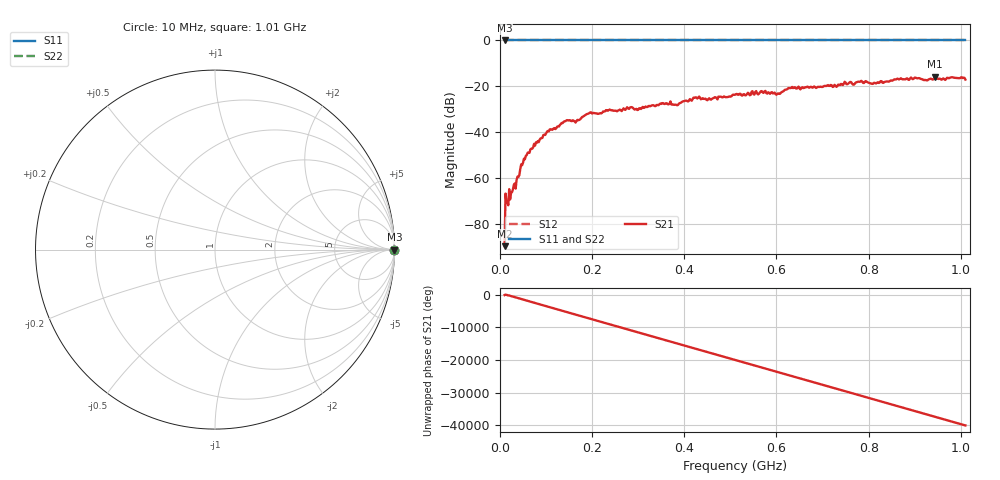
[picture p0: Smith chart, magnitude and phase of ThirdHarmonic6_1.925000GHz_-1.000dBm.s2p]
! 8/16/2025 11:12:36 PM
! C:\ANRITSUVNA\TEMP\TEMP.S2P
! CHANNEL.1
! TR.MEASUREMENT
! RAW.DATA
! RF.CORRECTION.OFF
! AVERAGING.OFF
! IF.BANDWIDTH: 5KHZ
! SWEEPTYPE:  FREQ.SWEEP(Linear)
! Reference Plane Port Info
! PORT:  PORT1  PORT2
! DISTANCE:  0  m  0  m
! TIME:  0  s  0  s
! PHASE.OFFSET:  0  deg.  0  deg.
! LOSS:  0  dB  0  dB
! REF.LOSS:  0  dB  0  dB
! REF.FREQ:  0  Hz  0  Hz
! Power Info
! POWER:  -20  dBm  -20  dBm
! EFF.POWER:  -20  dBm  -20  dBm
! SOURCE.ATTEN:  0  dB  0  dB
! TEST.ATTEN:  0  dB  0  dB
# GHZ S RI R 50.0
! FREQ.GHZ  S11RE  S11IM  S21RE  S21IM  S12RE  S12IM  S22RE  S22IM
!; PortSelection: Port_12
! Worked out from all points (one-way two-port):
!   501 points, 10 MHz to 1.01 GHz, reference 50 ohm
!   highest |S21| = -15.77 dB at 944 MHz (marker M1); lowest = -89.8 dB at 10 MHz (marker M2)
!   lowest |S11| = 0.0 dB at 10 MHz (marker M3)
!   |S11| at or under -10 dB: nowhere
!   |S22| runs from 0.0 to 0.0 dB; largest |S21 - S12| = 1.2
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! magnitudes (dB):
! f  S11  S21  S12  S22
! 10 MHz  0.0  -89.8  0.0  0.0
! 16 MHz  0.0  -70.4  0.0  0.0
! 18 MHz  0.0  -72.0  0.0  0.0
! 38 MHz  0.0  -59.4  0.0  0.0
! 48 MHz  0.0  -54.5  0.0  0.0
! 56 MHz  0.0  -50.4  0.0  0.0
! 70 MHz  0.0  -47.3  0.0  0.0
! 106 MHz  0.0  -39.6  0.0  0.0
! 142 MHz  0.0  -35.3  0.0  0.0
! 178 MHz  0.0  -33.5  0.0  0.0
! 194 MHz  0.0  -31.6  0.0  0.0
! 344 MHz  0.0  -28.3  0.0  0.0
! 382 MHz  0.0  -28.0  0.0  0.0
! 422 MHz  0.0  -25.0  0.0  0.0
! 454 MHz  0.0  -25.2  0.0  0.0
! 510 MHz  0.0  -23.7  0.0  0.0
! 604 MHz  0.0  -23.1  0.0  0.0
! 630 MHz  0.0  -20.8  0.0  0.0
! 678 MHz  0.0  -20.6  0.0  0.0
! 844 MHz  0.0  -18.0  0.0  0.0
! 944 MHz  0.0  -15.8  0.0  0.0
! 1.01 GHz  0.0  -17.1  0.0  0.0
